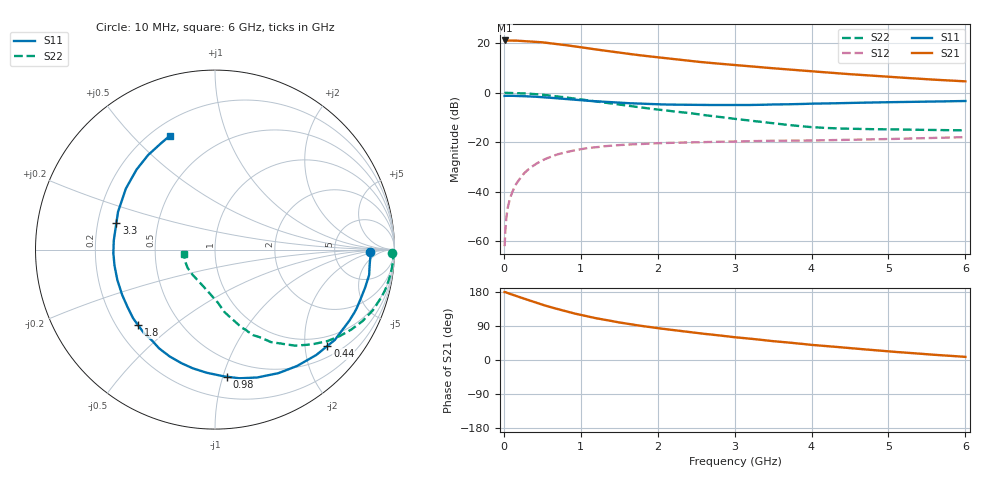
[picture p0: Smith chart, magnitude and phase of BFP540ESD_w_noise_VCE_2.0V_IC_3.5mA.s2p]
! Infineon Technologies  Discrete & RF Semiconductors
! BFP540ESD
! VCE =  2.0 V,  IC =  3.5 mA
! Common Emitter S-Parameters:  Nov 2015
# GHz  S  MA  R  50
!  f  S11  S21  S12  S22
! GHz  MAG  ANG  MAG  ANG  MAG  ANG  MAG  ANG
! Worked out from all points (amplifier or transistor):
!   210 points, 10 MHz to 6 GHz, reference 50 ohm
!   highest |S21| = 21.1 dB at 10 MHz (marker M1)
!   |S21| within 3 dB of that: start of sweep to 1.058 GHz
!   unconditionally stable (mu >= 1): 3.648 GHz to end of sweep
!   at 185 MHz: K = 0.02, MSG = 28.3 dB, |S12| = -35.7 dB
!   at 1.52 GHz: K = 0.39, MSG = 18.6 dB, |S12| = -21.1 dB
!   at 6 GHz: K = 1.29, MAG = 8.1 dB, |S12| = -17.9 dB
!   lowest NFmin = 0.64 dB at 900 MHz
!   S11 on the Smith chart (normalised r, x): 10 MHz: 13, -1; 440 MHz: 0.75, -2.51; 980 MHz: 0.36, -1.03; 1.8 GHz: 0.29, -0.38; 3.3 GHz: 0.28, +0.12; 6 GHz: 0.27, +0.64
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0.01  0.8627 -0.8  11.36 179.2  0.0008 87.2  0.9845 -1.2
0.025  0.8669 -2.6  11.31 178.6  0.0022 97.4  0.9962 -1.3
0.045  0.8656 -4.2  11.3 177.0  0.0042 89.9  0.9946 -2.3
0.115  0.8675 -10.7  11.31 172.2  0.0104 84.8  0.9904 -6.1
0.26  0.8526 -24.1  11.08 162.1  0.0233 78.7  0.9731 -13.7
0.44  0.8249 -40.6  10.58 150.1  0.0383 70.7  0.9302 -22.9
0.54  0.8038 -49.5  10.24 143.5  0.046 66.4  0.8992 -27.7
0.6  0.7934 -54.8  9.979 139.7  0.0502 63.9  0.8798 -30.5
0.7  0.7738 -62.8  9.6 134.4  0.0572 60.1  0.8453 -34.8
0.8  0.7504 -71.7  9.167 128.6  0.0627 56.1  0.8069 -39.2
0.98  0.711 -84.8  8.359 119.9  0.0716 49.6  0.7405 -45.7
1.02  0.7023 -87.7  8.194 118.0  0.0734 48.3  0.726 -47.1
1.2  0.6729 -100.6  7.474 110.2  0.0794 43.0  0.6644 -52.8
1.44  0.6399 -115.6  6.651 101.4  0.0866 37.3  0.5911 -59.6
1.8  0.6011 -135.6  5.626 89.6  0.0925 30.7  0.5009 -67.5
2.02  0.5839 -146.2  5.147 83.4  0.096 27.7  0.4551 -71.5
2.6  0.5669 -170.9  4.113 69.2  0.1008 21.8  0.3529 -81.3
3.1  0.5653 171.5  3.51 58.3  0.1043 18.4  0.2854 -88.6
3.3  0.569 165.0  3.306 54.2  0.1059 17.2  0.2624 -93.0
4.1  0.6044 143.3  2.64 38.3  0.1094 13.4  0.198 -117.8
5.1  0.6477 123.8  2.056 21.2  0.1172 10.7  0.1818 -148.7
6  0.6814 111.8  1.698 8.2  0.1271 9.1  0.1748 -172.0
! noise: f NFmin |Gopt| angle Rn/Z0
0.9  0.64  0.22  44  0.14
1.8  0.9  0.18  97  0.12
2.4  0.92  0.21  112  0.1
3  1.1  0.26  147  0.09
4  1.35  0.28  -137  0.14
5  1.65  0.41  -105  0.31
6  1.85  0.54  -104  0.47
